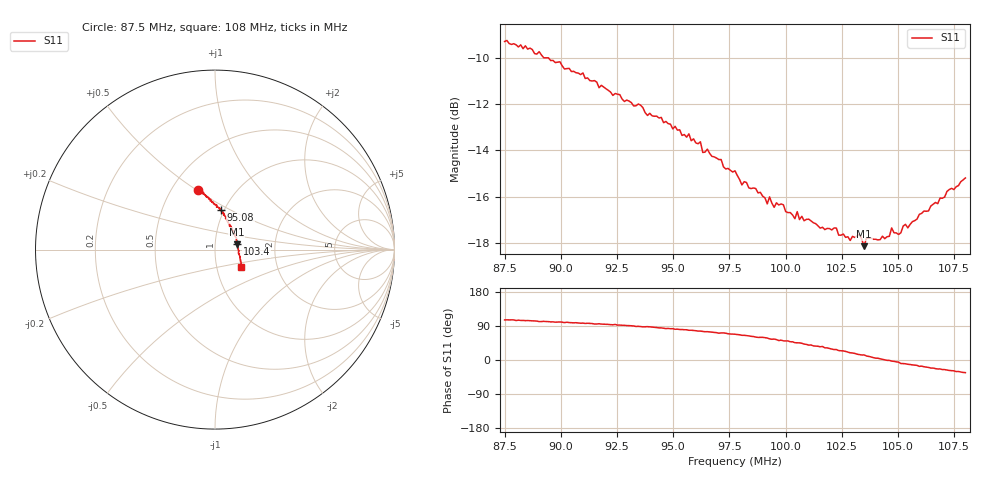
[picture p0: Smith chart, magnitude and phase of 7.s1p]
!Agilent Technologies,N5225A,MY51441201,A.09.90.19
!Agilent N5225A: A.09.90.19
!Date: Wednesday, April 25, 2018 14:49:17
!Correction: S11(Full 1 Port(1))
!S1P File: Measurement: S11:
# Hz S  dB  R 50
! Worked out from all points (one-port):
!   201 points, 87.5 MHz to 108 MHz, reference 50 ohm
!   lowest |S11| = -18.1 dB at 103.5 MHz (marker M1), VSWR 1.28, Z = 63.6 + j3.72 ohm
!   |S11| at or under -10 dB: 89.45 MHz to end of sweep
!   S11 on the Smith chart (normalised r, x): 87.5 MHz: 0.68, +0.51; 95.08 MHz: 0.97, +0.45; 103.4 MHz: 1.28, +0.08; 108 MHz: 1.31, -0.26
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8.75e7  -9.29 105.7
9.00625e7  -10.34 99.7
9.2625e7  -11.59 92.1
9.5085e7  -12.96 81.1
9.51875e7  -13.13 81.4
9.775e7  -14.88 68.0
9.80575e7  -15.49 65.2
9.82625e7  -15.39 64.4
9.9185e7  -16.32 58.0
9.92875e7  -16.01 55.8
9.94925e7  -16.46 55.2
9.99025e7  -16.35 50.5
1.003125e8  -16.80 48.0
1.005175e8  -16.65 45.3
1.017475e8  -17.43 32.1
1.0226e8  -17.36 27.5
1.023625e8  -17.67 24.9
1.02875e8  -17.90 19.0
1.03285e8  -17.62 14.3
1.033875e8  -17.84 13.2
1.0349e8  -18.14 13.5
1.035925e8  -17.82 10.8
1.046175e8  -17.72 -1.1
1.0472e8  -17.35 -2.9
1.050275e8  -17.64 -5.7
1.05335e8  -17.20 -10.0
1.054375e8  -17.35 -11.2
1.08e8  -15.19 -33.4
